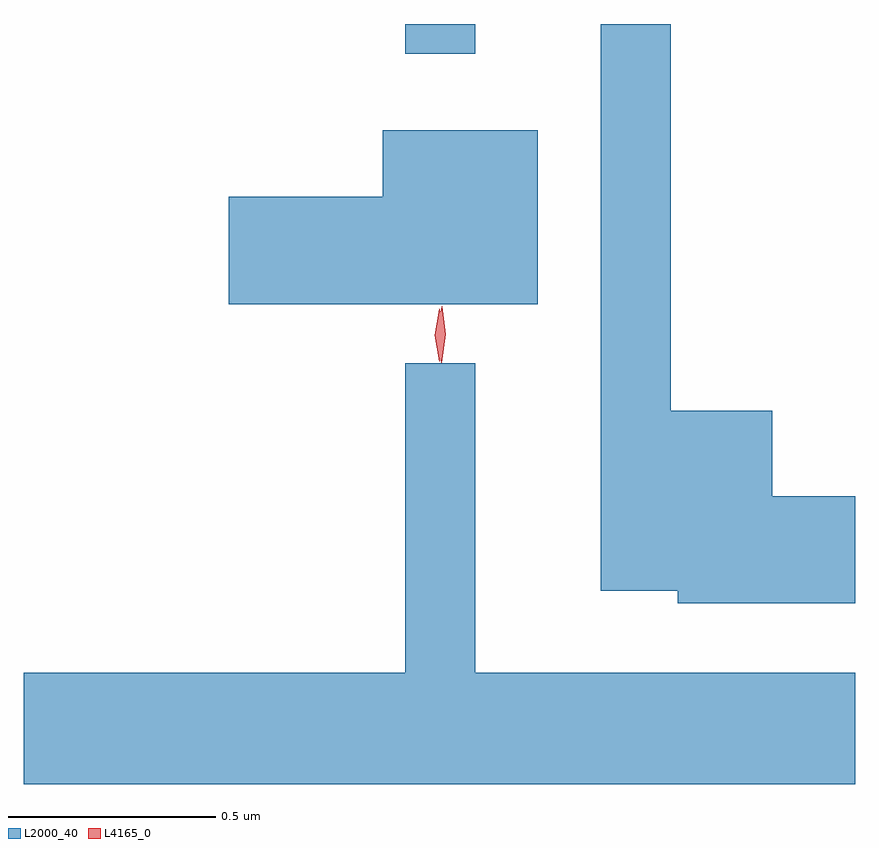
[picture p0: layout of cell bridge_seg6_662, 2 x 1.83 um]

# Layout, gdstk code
import gdstk
lib = gdstk.Library(unit=1e-6, precision=1e-09)
def R(c, l, rs):  # rectangles x0, y0, x1, y1
    for r in rs: c.add(gdstk.rectangle(r[:2], r[2:], *l))
def P(c, l, *ps):  # polygons
    for p in ps: c.add(gdstk.Polygon(p, *l))
L2000_40 = (2000, 40)
L4165_0 = (4165, 0)

bridge_seg6_662 = lib.new_cell('bridge_seg6_662')
R(bridge_seg6_662, L2000_40, [(285.281,1609.513,285.449,1609.585)])
P(bridge_seg6_662, L2000_40, [(286.363,1608.449),(286.164,1608.449),(286.164,1608.654),(285.919,1608.654),(285.919,1609.585),(285.751,1609.585),(285.751,1608.221),(285.936,1608.221),(285.936,1608.191),(286.363,1608.191)],
  [(285.599,1609.329),(285.226,1609.329),(285.226,1609.169),(284.856,1609.169),(284.856,1608.911),(285.599,1608.911)],
  [(286.363,1608.024),(285.449,1608.024),(285.449,1608.768),(285.281,1608.768),(285.281,1608.024),(284.363,1608.024),(284.363,1607.756),(286.363,1607.756)])
P(bridge_seg6_662, L4165_0, [(285.362,1608.773),(285.362,1608.773),(285.352,1608.836),(285.362,1608.899),(285.362,1608.9),(285.363,1608.899),(285.372,1608.836),(285.363,1608.773)],
  [(285.367,1608.77),(285.358,1608.838),(285.369,1608.906),(285.369,1608.906),(285.37,1608.906),(285.378,1608.838),(285.368,1608.77),(285.368,1608.77)])

lib.write_gds('bridge_seg6_662.gds')
